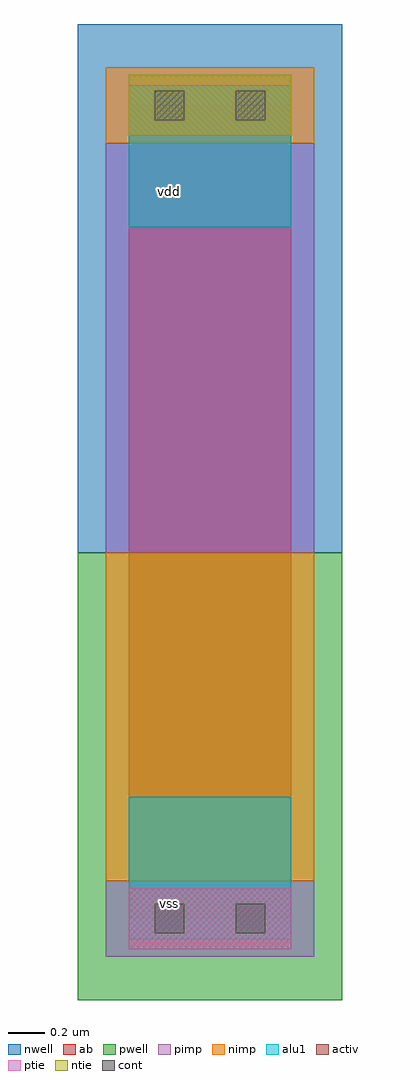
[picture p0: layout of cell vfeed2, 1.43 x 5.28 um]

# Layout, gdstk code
import gdstk
lib = gdstk.Library(unit=1e-6, precision=2.5e-09)
def R(c, l, rs):  # rectangles x0, y0, x1, y1
    for r in rs: c.add(gdstk.rectangle(r[:2], r[2:], *l))
ntie = (5, 0)
ptie = (6, 0)
cont = (25, 0)
pwell = (41, 0)
nwell = (42, 0)
activ = (43, 0)
pimp = (44, 0)
nimp = (45, 0)
alu1 = (49, 0)
ab = (63, 0)

vfeed2 = lib.new_cell('vfeed2')
R(vfeed2, ntie, [(0,4.235,0.88,4.565)])
R(vfeed2, ptie, [(0,-0.165,0.88,0.165)])
R(vfeed2, cont, [(0.14,-0.08,0.3,0.08), (0.58,-0.08,0.74,0.08), (0.14,4.32,0.3,4.48), (0.58,4.32,0.74,4.48)])
R(vfeed2, pwell, [(-0.275,-0.44,1.155,1.98)])
R(vfeed2, nwell, [(-0.275,1.98,1.155,4.84)])
R(vfeed2, activ, [(0,-0.165,0.88,0.165), (0,4.235,0.88,4.565)])
R(vfeed2, pimp, [(-0.125,-0.205,1.005,0.205), (-0.125,1.98,1.005,4.195)])
R(vfeed2, nimp, [(-0.125,0.205,1.005,1.98), (-0.125,4.195,1.005,4.605)])
R(vfeed2, alu1, [(0,-0.11,0.88,0.66), (0,3.74,0.88,4.51)])
R(vfeed2, ab, [(0,0,0.88,4.4)])
vfeed2.add(gdstk.Label('vss', (0.22,0.0825), layer=49, texttype=0))
vfeed2.add(gdstk.Label('vdd', (0.22,3.9325), layer=49, texttype=0))

lib.write_gds('vfeed2.gds')
